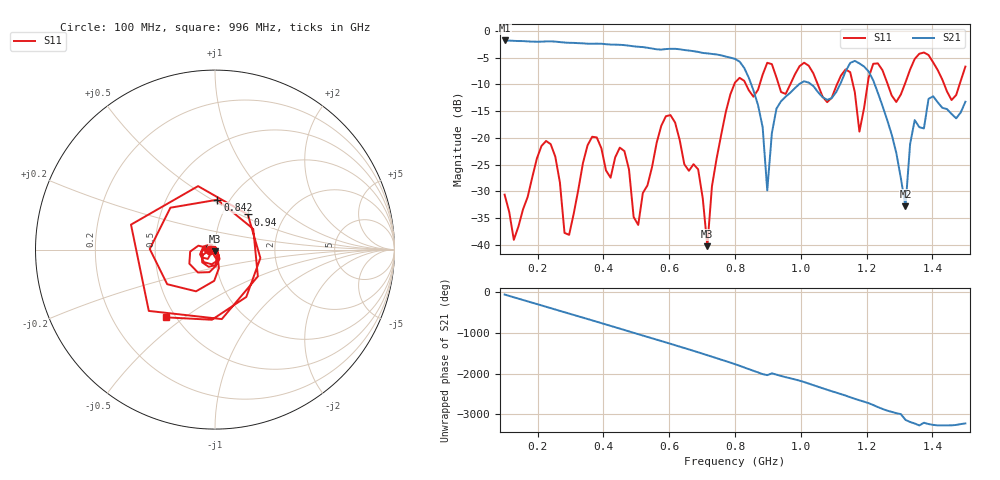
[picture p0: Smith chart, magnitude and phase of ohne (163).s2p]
! NanoVNA-App
! Date: 2025-09-25 14:22:04
! Start: 100MHz Stop: 1,5GHz Points: 101
! S-Parameter data: F S11 S21 S12 S22
# Hz S RI R 50
!  Frequency  S11_Real  S11_Imag  S21_Real  S21_Imag  S12_Real  S12_Imag  S22_Real  S22_Imag
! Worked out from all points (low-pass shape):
!   101 points, 100 MHz to 1.5 GHz, reference 50 ohm
!   highest |S21| = -1.79 dB at 100 MHz (marker M1); lowest = -32.8 dB at 1.318 GHz (marker M2)
!   |S21| within 3 dB of the highest: start of sweep to 771.1 MHz
!   lowest |S11| = -40.3 dB at 716 MHz (marker M3), VSWR 1.02, Z = 49.7 - j0.933 ohm
!   |S11| at or under -10 dB: start of sweep to 797.8 MHz; 833.2 MHz to 875 MHz (41.84 MHz wide, 4.9 % of centre); 1.051 GHz to 1.11 GHz (58.51 MHz wide, 5.41 % of centre) (the widest 3 of 7)
!   S12 and S22 are empty: the file has one direction only
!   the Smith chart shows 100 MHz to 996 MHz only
!   S11 on the Smith chart (normalised r, x): 100 MHz: 0.94, -0.01; 842 MHz: 0.88, +0.53; 940 MHz: 1.31, +0.55; 996 MHz: 0.44, -0.43
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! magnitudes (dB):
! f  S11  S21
! 100 MHz  -30.6  -1.8
! 128 MHz  -39.1  -1.9
! 226 MHz  -20.6  -2.0
! 296 MHz  -38.2  -2.2
! 338 MHz  -24.7  -2.3
! 464 MHz  -22.5  -2.7
! 506 MHz  -36.3  -3.0
! 576 MHz  -17.8  -3.5
! 688 MHz  -25.9  -3.9
! 716 MHz  -40.3  -4.2
! 800 MHz  -9.7  -5.2
! 842 MHz  -11.1  -8.8
! 898 MHz  -6.0  -29.8
! 940 MHz  -11.4  -13.2
! 996 MHz  -6.6  -9.9
! 1.038 GHz  -7.9  -10.3
! 1.178 GHz  -18.9  -6.1
! 1.22 GHz  -6.2  -9.3
! 1.276 GHz  -12.1  -19.4
! 1.318 GHz  -9.6  -32.8
! 1.346 GHz  -5.3  -16.7
! 1.5 GHz  -6.7  -13.3
